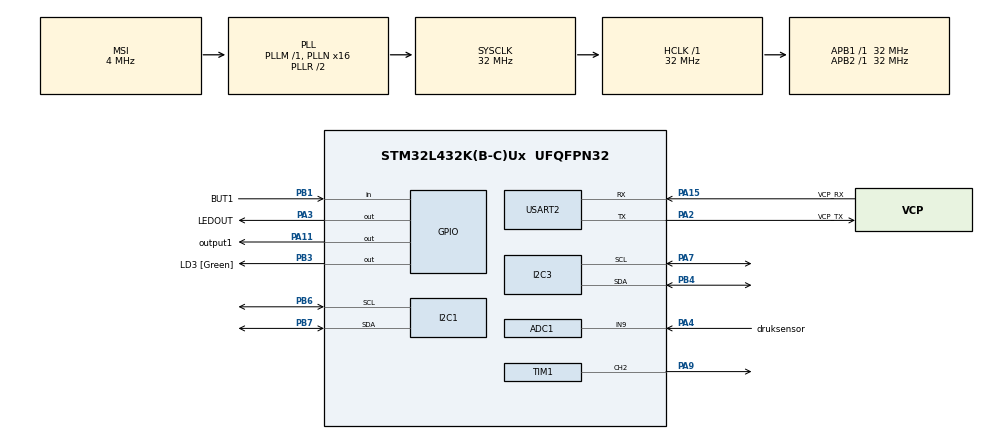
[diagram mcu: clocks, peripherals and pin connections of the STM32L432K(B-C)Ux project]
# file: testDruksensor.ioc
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ADC1.Channel-1\#ChannelRegularConversion=ADC_CHANNEL_9
ADC1.NbrOfConversionFlag=1
ADC1.OffsetNumber-1\#ChannelRegularConversion=ADC_OFFSET_NONE
ADC1.Rank-1\#ChannelRegularConversion=1
ADC1.SamplingTime-1\#ChannelRegularConversion=ADC_SAMPLETIME_2CYCLES_5
ADC1.master=1
Dma.Request0=TIM1_CH2
Dma.TIM1_CH2.0.Direction=DMA_MEMORY_TO_PERIPH
Dma.TIM1_CH2.0.Instance=DMA1_Channel3
Dma.TIM1_CH2.0.MemDataAlignment=DMA_MDATAALIGN_HALFWORD
Dma.TIM1_CH2.0.MemInc=DMA_MINC_ENABLE
Dma.TIM1_CH2.0.Mode=DMA_NORMAL
Dma.TIM1_CH2.0.PeriphDataAlignment=DMA_PDATAALIGN_HALFWORD
Dma.TIM1_CH2.0.PeriphInc=DMA_PINC_DISABLE
Dma.TIM1_CH2.0.Priority=DMA_PRIORITY_LOW
I2C1.OwnAddress=0x10
I2C1.Timing=0x00707CBB
I2C3.Timing=0x00707CBB
Mcu.Family=STM32L4
Mcu.Name=STM32L432K(B-C)Ux
Mcu.Package=UFQFPN32
NVIC.DMA1_Channel3_IRQn=true\:0\:0\:false\:false\:true\:false\:true\:true
NVIC.I2C1_ER_IRQn=true\:0\:0\:false\:false\:true\:true\:true\:true
NVIC.I2C1_EV_IRQn=true\:0\:0\:false\:false\:true\:true\:true\:true
NVIC.I2C3_ER_IRQn=true\:0\:0\:false\:false\:true\:true\:true\:true
NVIC.I2C3_EV_IRQn=true\:0\:0\:false\:false\:true\:true\:true\:true
NVIC.PriorityGroup=NVIC_PRIORITYGROUP_4
NVIC.TIM1_BRK_TIM15_IRQn=true\:0\:0\:false\:false\:true\:true\:true\:true
PA0.GPIO_Label=MCO [High speed clock in]
PA0.Mode=HSE-External-Clock-Source-for-LittleOrca
PA0.Signal=RCC_CK_IN
PA11.GPIO_Label=output1
PA11.GPIO_PuPd=GPIO_NOPULL
PA11.GPIO_Speed=GPIO_SPEED_FREQ_LOW
PA11.Signal=GPIO_Output
PA13\ (JTMS-SWDIO).GPIO_Label=SWDIO
PA13\ (JTMS-SWDIO).Mode=Serial_Wire
PA13\ (JTMS-SWDIO).Signal=SYS_JTMS-SWDIO
PA14\ (JTCK-SWCLK).GPIO_Label=SWCLK
PA14\ (JTCK-SWCLK).Mode=Serial_Wire
PA14\ (JTCK-SWCLK).Signal=SYS_JTCK-SWCLK
PA15\ (JTDI).GPIO_Label=VCP_RX
PA15\ (JTDI).Mode=Asynchronous
PA15\ (JTDI).Signal=USART2_RX
PA2.GPIO_Label=VCP_TX
PA2.Mode=Asynchronous
PA2.Signal=USART2_TX
PA3.GPIO_Label=LEDOUT
PA3.Signal=GPIO_Output
PA4.GPIO_Label=druksensor
PA4.Signal=ADCx_IN9
PA7.GPIO_Pu=GPIO_PULLUP
PA7.Mode=I2C
PA7.Signal=I2C3_SCL
PA9.Signal=S_TIM1_CH2
PB1.GPIO_Label=BUT1
PB1.GPIO_PuPd=GPIO_PULLUP
PB1.Signal=GPIO_Input
PB3\ (JTDO-TRACESWO).GPIO_Label=LD3 [Green]
PB3\ (JTDO-TRACESWO).GPIO_PuPd=GPIO_NOPULL
PB3\ (JTDO-TRACESWO).GPIO_Speed=GPIO_SPEED_FREQ_LOW
PB3\ (JTDO-TRACESWO).Signal=GPIO_Output
PB4\ (NJTRST).GPIO_Pu=GPIO_PULLUP
PB4\ (NJTRST).Mode=I2C
PB4\ (NJTRST).Signal=I2C3_SDA
PB6.GPIO_Pu=GPIO_PULLUP
PB6.Mode=I2C
PB6.Signal=I2C1_SCL
PB7.GPIO_Pu=GPIO_PULLUP
PB7.Mode=I2C
PB7.Signal=I2C1_SDA
PC14-OSC32_IN\ (PC14).Mode=LSE-External-Oscillator
PC14-OSC32_IN\ (PC14).Signal=RCC_OSC32_IN
PC15-OSC32_OUT\ (PC15).Mode=LSE-External-Oscillator
PC15-OSC32_OUT\ (PC15).Signal=RCC_OSC32_OUT
ProjectManager.HeapSize=0x200
ProjectManager.StackSize=0x400
ProjectManager.TargetToolchain=STM32CubeIDE
RCC.AHBFreq_Value=32000000
RCC.APB1Freq_Value=32000000
RCC.APB1TimFreq_Value=32000000
RCC.APB2Freq_Value=32000000
RCC.APB2TimFreq_Value=32000000
RCC.CortexFreq_Value=32000000
RCC.HCLKFreq_Value=32000000
RCC.HSE_VALUE=8000000
RCC.HSI16_VALUE=16000000
RCC.HSI48_VALUE=48000000
RCC.HSI_VALUE=16000000
RCC.MSI_VALUE=4000000
RCC.PLLMUL=RCC_PLLMUL_4
RCC.PLLN=16
RCC.SYSCLKFreq_VALUE=32000000
RCC.SYSCLKSource=RCC_SYSCLKSOURCE_PLLCLK
RCC.VCOOutputFreq_Value=64000000
SH.ADCx_IN9.0=ADC1_IN9,IN9-Single-Ended
SH.S_TIM1_CH2.0=TIM1_CH2,PWM Generation2 CH2
TIM1.AutoReloadPreload=TIM_AUTORELOAD_PRELOAD_ENABLE
TIM1.Channel-PWM\ Generation2\ CH2=TIM_CHANNEL_2
TIM1.Period=32-1
TIM1.Prescaler=0
TIM1.Pulse-PWM\ Generation2\ CH2=63
USART2.VirtualMode-Asynchronous=VM_ASYNC
board=NUCLEO-L432KC

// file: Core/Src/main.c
/* USER CODE BEGIN Header */
/**
  ******************************************************************************
  * @file           : main.c
  * @brief          : Main program body
  ******************************************************************************
  * @attention
  *
  * Copyright (c) 2024 STMicroelectronics.
  * All rights reserved.
  *
  * This software is licensed under terms that can be found in the LICENSE file
  * in the root directory of this software component.
  * If no LICENSE file comes with this software, it is provided AS-IS.
  *
  ******************************************************************************
  */
/* USER CODE END Header */
#include "main.h"

/* USER CODE BEGIN Includes */
#include <string.h>
#include <stdio.h>
#include <stdlib.h>
#include "sht3x.h"
/* USER CODE END Includes */

/* USER CODE BEGIN PD */
#define BUF_SIZE 2;
/* USER CODE END PD */

ADC_HandleTypeDef hadc1;

I2C_HandleTypeDef hi2c1;
I2C_HandleTypeDef hi2c3;

TIM_HandleTypeDef htim1;
DMA_HandleTypeDef hdma_tim1_ch2;

UART_HandleTypeDef huart2;

/* USER CODE BEGIN PV */
//static const uint8_t SGP30_ADDR = 0x44 << 1;
//static const uint8_t REG_GAS = 0x00;
uint8_t received_command = 0;
uint8_t buf[12];
float temp = 20;
uint32_t pop;
int nummer;
char buf2[50];

/* USER CODE END PV */

void SystemClock_Config(void);
static void MX_GPIO_Init(void);
static void MX_DMA_Init(void);
static void MX_USART2_UART_Init(void);
static void MX_I2C1_Init(void);
static void MX_I2C3_Init(void);
static void MX_ADC1_Init(void);
static void MX_TIM1_Init(void);

/* USER CODE BEGIN 0 */
//void HAL_DelayMicroseconds(uint32_t us);
//void WS2812B_SendByte(uint8_t byte);
//void WS2812B_SendColor(uint8_t red, uint8_t green, uint8_t blue);
void Set_LED (int LEDnum, int Red, int Green, int Blue);
void Set_Brightness (int brightness);
void WS2812_Send (void);
/* USER CODE END 0 */

int main(void)
{
  /* USER CODE BEGIN 1 */
	sht3x_handle_t handle = {
	    .i2c_handle = &hi2c3,
	    .device_address = SHT3X_I2C_DEVICE_ADDRESS_ADDR_PIN_LOW
	};

	if (!sht3x_init(&handle)) {
	    printf("SHT3x access failed.\n\r");
	}

  /* USER CODE END 1 */

  /* MCU Configuration--------------------------------------------------------*/

  /* Reset of all peripherals, Initializes the Flash interface and the Systick. */
  HAL_Init();

  /* Configure the system clock */
  SystemClock_Config();

  /* Initialize all configured peripherals */
  MX_GPIO_Init();
  MX_DMA_Init();
  MX_USART2_UART_Init();
  MX_I2C1_Init();
  MX_I2C3_Init();
  MX_ADC1_Init();
  MX_TIM1_Init();

  /* Infinite loop */
  /* USER CODE BEGIN WHILE */

  while (1)
  {
	  //	nucleo druksensor aanmaak //

	    HAL_StatusTypeDef adcStatus;

	    adcStatus = HAL_ADC_Start(&hadc1);

	    adcStatus = HAL_ADC_PollForConversion(&hadc1, HAL_MAX_DELAY);

	    pop = HAL_ADC_GetValue(&hadc1);

	    nummer = snprintf(buf2, sizeof(buf2), "Druksensor waarde: %lu\n\r", pop);

	    adcStatus = HAL_UART_Transmit(&huart2, buf2, nummer, HAL_MAX_DELAY);

    /* USER CODE END WHILE */

  }
}

void SystemClock_Config(void)
{
  RCC_OscInitTypeDef RCC_OscInitStruct = {0};
  RCC_ClkInitTypeDef RCC_ClkInitStruct = {0};

  /** Configure the main internal regulator output voltage
  */
  if (HAL_PWREx_ControlVoltageScaling(PWR_REGULATOR_VOLTAGE_SCALE1) != HAL_OK)
  {
    Error_Handler();
  }

  /** Configure LSE Drive Capability
  */
  HAL_PWR_EnableBkUpAccess();
  __HAL_RCC_LSEDRIVE_CONFIG(RCC_LSEDRIVE_LOW);

  /** Initializes the RCC Oscillators according to the specified parameters
  * in the RCC_OscInitTypeDef structure.
  */
  RCC_OscInitStruct.OscillatorType = RCC_OSCILLATORTYPE_LSE|RCC_OSCILLATORTYPE_MSI;
  RCC_OscInitStruct.LSEState = RCC_LSE_ON;
  RCC_OscInitStruct.MSIState = RCC_MSI_ON;
  RCC_OscInitStruct.MSICalibrationValue = 0;
  RCC_OscInitStruct.MSIClockRange = RCC_MSIRANGE_6;
  RCC_OscInitStruct.PLL.PLLState = RCC_PLL_ON;
  RCC_OscInitStruct.PLL.PLLSource = RCC_PLLSOURCE_MSI;
  RCC_OscInitStruct.PLL.PLLM = 1;
  RCC_OscInitStruct.PLL.PLLN = 16;
  RCC_OscInitStruct.PLL.PLLP = RCC_PLLP_DIV7;
  RCC_OscInitStruct.PLL.PLLQ = RCC_PLLQ_DIV2;
  RCC_OscInitStruct.PLL.PLLR = RCC_PLLR_DIV2;
  if (HAL_RCC_OscConfig(&RCC_OscInitStruct) != HAL_OK)
  {
    Error_Handler();
  }

  /** Initializes the CPU, AHB and APB buses clocks
  */
  RCC_ClkInitStruct.ClockType = RCC_CLOCKTYPE_HCLK|RCC_CLOCKTYPE_SYSCLK
                              |RCC_CLOCKTYPE_PCLK1|RCC_CLOCKTYPE_PCLK2;
  RCC_ClkInitStruct.SYSCLKSource = RCC_SYSCLKSOURCE_PLLCLK;
  RCC_ClkInitStruct.AHBCLKDivider = RCC_SYSCLK_DIV1;
  RCC_ClkInitStruct.APB1CLKDivider = RCC_HCLK_DIV1;
  RCC_ClkInitStruct.APB2CLKDivider = RCC_HCLK_DIV1;

  if (HAL_RCC_ClockConfig(&RCC_ClkInitStruct, FLASH_LATENCY_1) != HAL_OK)
  {
    Error_Handler();
  }

  /** Enable MSI Auto calibration
  */
  HAL_RCCEx_EnableMSIPLLMode();
}

static void MX_ADC1_Init(void)
{

  ADC_ChannelConfTypeDef sConfig = {0};

  /** Common config
  */
  hadc1.Instance = ADC1;
  hadc1.Init.ClockPrescaler = ADC_CLOCK_ASYNC_DIV1;
  hadc1.Init.Resolution = ADC_RESOLUTION_12B;
  hadc1.Init.DataAlign = ADC_DATAALIGN_RIGHT;
  hadc1.Init.ScanConvMode = ADC_SCAN_DISABLE;
  hadc1.Init.EOCSelection = ADC_EOC_SINGLE_CONV;
  hadc1.Init.LowPowerAutoWait = DISABLE;
  hadc1.Init.ContinuousConvMode = DISABLE;
  hadc1.Init.NbrOfConversion = 1;
  hadc1.Init.DiscontinuousConvMode = DISABLE;
  hadc1.Init.ExternalTrigConv = ADC_SOFTWARE_START;
  hadc1.Init.ExternalTrigConvEdge = ADC_EXTERNALTRIGCONVEDGE_NONE;
  hadc1.Init.DMAContinuousRequests = DISABLE;
  hadc1.Init.Overrun = ADC_OVR_DATA_PRESERVED;
  hadc1.Init.OversamplingMode = DISABLE;
  if (HAL_ADC_Init(&hadc1) != HAL_OK)
  {
    Error_Handler();
  }

  /** Configure Regular Channel
  */
  sConfig.Channel = ADC_CHANNEL_9;
  sConfig.Rank = ADC_REGULAR_RANK_1;
  sConfig.SamplingTime = ADC_SAMPLETIME_2CYCLES_5;
  sConfig.SingleDiff = ADC_SINGLE_ENDED;
  sConfig.OffsetNumber = ADC_OFFSET_NONE;
  sConfig.Offset = 0;
  if (HAL_ADC_ConfigChannel(&hadc1, &sConfig) != HAL_OK)
  {
    Error_Handler();
  }

}

static void MX_I2C1_Init(void)
{

  hi2c1.Instance = I2C1;
  hi2c1.Init.Timing = 0x00707CBB;
  hi2c1.Init.OwnAddress1 = 32;
  hi2c1.Init.AddressingMode = I2C_ADDRESSINGMODE_7BIT;
  hi2c1.Init.DualAddressMode = I2C_DUALADDRESS_DISABLE;
  hi2c1.Init.OwnAddress2 = 0;
  hi2c1.Init.OwnAddress2Masks = I2C_OA2_NOMASK;
  hi2c1.Init.GeneralCallMode = I2C_GENERALCALL_DISABLE;
  hi2c1.Init.NoStretchMode = I2C_NOSTRETCH_DISABLE;
  if (HAL_I2C_Init(&hi2c1) != HAL_OK)
  {
    Error_Handler();
  }

  /** Configure Analogue filter
  */
  if (HAL_I2CEx_ConfigAnalogFilter(&hi2c1, I2C_ANALOGFILTER_ENABLE) != HAL_OK)
  {
    Error_Handler();
  }

  /** Configure Digital filter
  */
  if (HAL_I2CEx_ConfigDigitalFilter(&hi2c1, 0) != HAL_OK)
  {
    Error_Handler();
  }

}

static void MX_I2C3_Init(void)
{

  hi2c3.Instance = I2C3;
  hi2c3.Init.Timing = 0x00707CBB;
  hi2c3.Init.OwnAddress1 = 0;
  hi2c3.Init.AddressingMode = I2C_ADDRESSINGMODE_7BIT;
  hi2c3.Init.DualAddressMode = I2C_DUALADDRESS_DISABLE;
  hi2c3.Init.OwnAddress2 = 0;
  hi2c3.Init.OwnAddress2Masks = I2C_OA2_NOMASK;
  hi2c3.Init.GeneralCallMode = I2C_GENERALCALL_DISABLE;
  hi2c3.Init.NoStretchMode = I2C_NOSTRETCH_DISABLE;
  if (HAL_I2C_Init(&hi2c3) != HAL_OK)
  {
    Error_Handler();
  }

  /** Configure Analogue filter
  */
  if (HAL_I2CEx_ConfigAnalogFilter(&hi2c3, I2C_ANALOGFILTER_ENABLE) != HAL_OK)
  {
    Error_Handler();
  }

  /** Configure Digital filter
  */
  if (HAL_I2CEx_ConfigDigitalFilter(&hi2c3, 0) != HAL_OK)
  {
    Error_Handler();
  }

}

static void MX_TIM1_Init(void)
{

  TIM_MasterConfigTypeDef sMasterConfig = {0};
  TIM_OC_InitTypeDef sConfigOC = {0};
  TIM_BreakDeadTimeConfigTypeDef sBreakDeadTimeConfig = {0};

  htim1.Instance = TIM1;
  htim1.Init.Prescaler = 0;
  htim1.Init.CounterMode = TIM_COUNTERMODE_UP;
  htim1.Init.Period = 32-1;
  htim1.Init.ClockDivision = TIM_CLOCKDIVISION_DIV1;
  htim1.Init.RepetitionCounter = 0;
  htim1.Init.AutoReloadPreload = TIM_AUTORELOAD_PRELOAD_ENABLE;
  if (HAL_TIM_PWM_Init(&htim1) != HAL_OK)
  {
    Error_Handler();
  }
  sMasterConfig.MasterOutputTrigger = TIM_TRGO_RESET;
  sMasterConfig.MasterOutputTrigger2 = TIM_TRGO2_RESET;
  sMasterConfig.MasterSlaveMode = TIM_MASTERSLAVEMODE_DISABLE;
  if (HAL_TIMEx_MasterConfigSynchronization(&htim1, &sMasterConfig) != HAL_OK)
  {
    Error_Handler();
  }
  sConfigOC.OCMode = TIM_OCMODE_PWM1;
  sConfigOC.Pulse = 63;
  sConfigOC.OCPolarity = TIM_OCPOLARITY_HIGH;
  sConfigOC.OCNPolarity = TIM_OCNPOLARITY_HIGH;
  sConfigOC.OCFastMode = TIM_OCFAST_DISABLE;
  sConfigOC.OCIdleState = TIM_OCIDLESTATE_RESET;
  sConfigOC.OCNIdleState = TIM_OCNIDLESTATE_RESET;
  if (HAL_TIM_PWM_ConfigChannel(&htim1, &sConfigOC, TIM_CHANNEL_2) != HAL_OK)
  {
    Error_Handler();
  }
  sBreakDeadTimeConfig.OffStateRunMode = TIM_OSSR_DISABLE;
  sBreakDeadTimeConfig.OffStateIDLEMode = TIM_OSSI_DISABLE;
  sBreakDeadTimeConfig.LockLevel = TIM_LOCKLEVEL_OFF;
  sBreakDeadTimeConfig.DeadTime = 0;
  sBreakDeadTimeConfig.BreakState = TIM_BREAK_DISABLE;
  sBreakDeadTimeConfig.BreakPolarity = TIM_BREAKPOLARITY_HIGH;
  sBreakDeadTimeConfig.BreakFilter = 0;
  sBreakDeadTimeConfig.Break2State = TIM_BREAK2_DISABLE;
  sBreakDeadTimeConfig.Break2Polarity = TIM_BREAK2POLARITY_HIGH;
  sBreakDeadTimeConfig.Break2Filter = 0;
  sBreakDeadTimeConfig.AutomaticOutput = TIM_AUTOMATICOUTPUT_DISABLE;
  if (HAL_TIMEx_ConfigBreakDeadTime(&htim1, &sBreakDeadTimeConfig) != HAL_OK)
  {
    Error_Handler();
  }
  HAL_TIM_MspPostInit(&htim1);

}

static void MX_USART2_UART_Init(void)
{

  huart2.Instance = USART2;
  huart2.Init.BaudRate = 115200;
  huart2.Init.WordLength = UART_WORDLENGTH_8B;
  huart2.Init.StopBits = UART_STOPBITS_1;
  huart2.Init.Parity = UART_PARITY_NONE;
  huart2.Init.Mode = UART_MODE_TX_RX;
  huart2.Init.HwFlowCtl = UART_HWCONTROL_NONE;
  huart2.Init.OverSampling = UART_OVERSAMPLING_16;
  huart2.Init.OneBitSampling = UART_ONE_BIT_SAMPLE_DISABLE;
  huart2.AdvancedInit.AdvFeatureInit = UART_ADVFEATURE_NO_INIT;
  if (HAL_UART_Init(&huart2) != HAL_OK)
  {
    Error_Handler();
  }

}

static void MX_DMA_Init(void)
{

  /* DMA controller clock enable */
  __HAL_RCC_DMA1_CLK_ENABLE();

  /* DMA interrupt init */
  /* DMA1_Channel3_IRQn interrupt configuration */
  HAL_NVIC_SetPriority(DMA1_Channel3_IRQn, 0, 0);
  HAL_NVIC_EnableIRQ(DMA1_Channel3_IRQn);

}

static void MX_GPIO_Init(void)
{
  GPIO_InitTypeDef GPIO_InitStruct = {0};

  /* GPIO Ports Clock Enable */
  __HAL_RCC_GPIOC_CLK_ENABLE();
  __HAL_RCC_GPIOA_CLK_ENABLE();
  __HAL_RCC_GPIOB_CLK_ENABLE();

  /*Configure GPIO pin Output Level */
  HAL_GPIO_WritePin(GPIOA, LEDOUT_Pin|output1_Pin, GPIO_PIN_RESET);

  /*Configure GPIO pin Output Level */
  HAL_GPIO_WritePin(LD3_GPIO_Port, LD3_Pin, GPIO_PIN_RESET);

  /*Configure GPIO pins : LEDOUT_Pin output1_Pin */
  GPIO_InitStruct.Pin = LEDOUT_Pin|output1_Pin;
  GPIO_InitStruct.Mode = GPIO_MODE_OUTPUT_PP;
  GPIO_InitStruct.Pull = GPIO_NOPULL;
  GPIO_InitStruct.Speed = GPIO_SPEED_FREQ_LOW;
  HAL_GPIO_Init(GPIOA, &GPIO_InitStruct);

  /*Configure GPIO pin : BUT1_Pin */
  GPIO_InitStruct.Pin = BUT1_Pin;
  GPIO_InitStruct.Mode = GPIO_MODE_INPUT;
  GPIO_InitStruct.Pull = GPIO_PULLUP;
  HAL_GPIO_Init(BUT1_GPIO_Port, &GPIO_InitStruct);

  /*Configure GPIO pin : LD3_Pin */
  GPIO_InitStruct.Pin = LD3_Pin;
  GPIO_InitStruct.Mode = GPIO_MODE_OUTPUT_PP;
  GPIO_InitStruct.Pull = GPIO_NOPULL;
  GPIO_InitStruct.Speed = GPIO_SPEED_FREQ_LOW;
  HAL_GPIO_Init(LD3_GPIO_Port, &GPIO_InitStruct);

}

void Error_Handler(void)
{
  __disable_irq();
  while (1)
  {
  }
}
